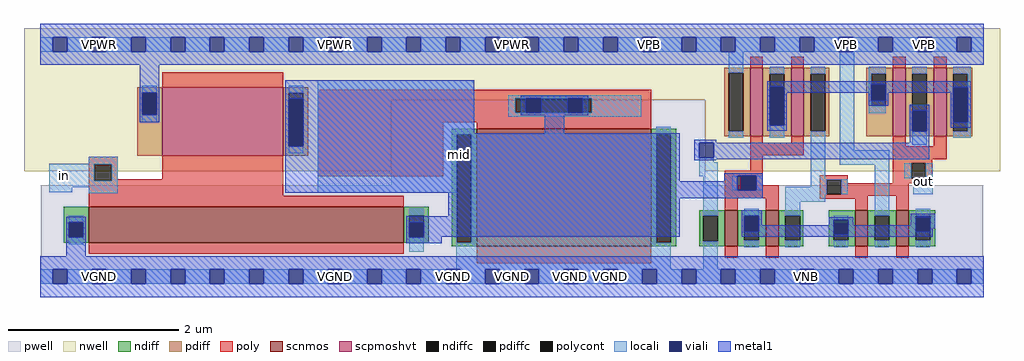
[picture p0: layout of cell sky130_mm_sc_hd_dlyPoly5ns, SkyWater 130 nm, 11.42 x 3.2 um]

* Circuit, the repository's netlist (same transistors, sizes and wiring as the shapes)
* NGSPICE file created from sky130_mm_sc_hd_dlyPoly5ns.ext - technology: sky130A

.subckt sky130_mm_sc_hd_dlyPoly5ns VPWR in out VGND VPB VNB
X0 a_1691_329# out VGND VPB sky130_fd_pr__pfet_01v8_hvt ad=7.52e+11p pd=6.68e+06u as=2.64e+11p ps=2.26e+06u w=800000u l=150000u
X1 a_1691_329# mid VPWR VPB sky130_fd_pr__pfet_01v8_hvt ad=0p pd=0u as=4.72e+11p ps=4.38e+06u w=800000u l=150000u
X2 out mid a_1691_329# VPB sky130_fd_pr__pfet_01v8_hvt ad=2.4e+11p pd=2.2e+06u as=0p ps=0u w=800000u l=150000u
X3 VGND out a_1691_329# VPB sky130_fd_pr__pfet_01v8_hvt ad=0p pd=0u as=0p ps=0u w=800000u l=150000u
X4 VGND mid VGND VNB sky130_fd_pr__nfet_01v8 ad=1.0453e+12p pd=9.52e+06u as=0p ps=0u w=1.375e+06u l=2.045e+06u
X5 a_1632_71# mid VGND VNB sky130_fd_pr__nfet_01v8 ad=3.99e+11p pd=4.42e+06u as=0p ps=0u w=420000u l=150000u
X6 VPWR out a_1632_71# VNB sky130_fd_pr__nfet_01v8 ad=1.386e+11p pd=1.5e+06u as=0p ps=0u w=420000u l=150000u
X7 a_1632_71# out VPWR VNB sky130_fd_pr__nfet_01v8 ad=0p pd=0u as=0p ps=0u w=420000u l=150000u
X8 out mid a_1632_71# VNB sky130_fd_pr__nfet_01v8 ad=1.218e+11p pd=1.42e+06u as=0p ps=0u w=420000u l=150000u
X9 mid in VPWR VPB sky130_fd_pr__pfet_01v8_hvt ad=2.32e+11p pd=2.18e+06u as=0p ps=0u w=800000u l=1.42e+06u
X10 mid in VGND VNB sky130_fd_pr__nfet_01v8 ad=1.218e+11p pd=1.42e+06u as=0p ps=0u w=420000u l=3.69e+06u
.ends

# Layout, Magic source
magic
tech sky130A
magscale 1 2
<< nwell >>
rect -38 414 2246 582
rect -38 247 822 414
rect 1556 247 2246 414
<< pwell >>
rect 822 214 1556 414
rect 1 -17 2207 214
<< scnmos >>
rect 113 80 851 164
rect 1021 71 1430 346
rect 1602 71 1632 155
rect 1698 71 1728 155
rect 1907 71 1937 155
rect 2003 71 2033 155
<< scpmoshvt >>
rect 285 283 569 443
rect 1661 329 1691 489
rect 1757 329 1787 489
rect 1995 329 2025 489
rect 2091 329 2121 489
<< ndiff >>
rect 963 334 1021 346
rect 55 127 113 164
rect 55 92 67 127
rect 101 92 113 127
rect 55 80 113 92
rect 851 144 909 164
rect 851 92 863 144
rect 897 92 909 144
rect 851 80 909 92
rect 963 79 975 334
rect 1009 79 1021 334
rect 963 71 1021 79
rect 1430 334 1488 346
rect 1430 79 1442 334
rect 1476 79 1488 334
rect 1430 71 1488 79
rect 1542 143 1602 155
rect 1542 83 1552 143
rect 1586 83 1602 143
rect 1542 71 1602 83
rect 1632 143 1698 155
rect 1632 85 1648 143
rect 1682 85 1698 143
rect 1632 71 1698 85
rect 1728 143 1786 155
rect 1728 85 1744 143
rect 1778 85 1786 143
rect 1728 71 1786 85
rect 1845 124 1907 155
rect 1845 85 1857 124
rect 1891 85 1907 124
rect 1845 71 1907 85
rect 1937 143 2003 155
rect 1937 85 1953 143
rect 1987 85 2003 143
rect 1937 71 2003 85
rect 2033 143 2095 155
rect 2033 85 2049 143
rect 2083 85 2095 143
rect 2033 71 2095 85
<< pdiff >>
rect 1601 477 1661 489
rect 227 431 285 443
rect 227 379 239 431
rect 273 379 285 431
rect 227 283 285 379
rect 569 431 627 443
rect 569 305 581 431
rect 615 305 627 431
rect 569 283 627 305
rect 1601 341 1611 477
rect 1645 341 1661 477
rect 1601 329 1661 341
rect 1691 475 1757 489
rect 1691 354 1707 475
rect 1741 354 1757 475
rect 1691 329 1757 354
rect 1787 475 1847 489
rect 1787 341 1803 475
rect 1837 341 1847 475
rect 1787 329 1847 341
rect 1933 475 1995 489
rect 1933 400 1945 475
rect 1979 400 1995 475
rect 1933 329 1995 400
rect 2025 475 2091 489
rect 2025 341 2041 475
rect 2075 341 2091 475
rect 2025 329 2091 341
rect 2121 475 2181 489
rect 2121 341 2137 475
rect 2171 341 2181 475
rect 2121 329 2181 341
<< ndiffc >>
rect 67 92 101 127
rect 863 92 897 144
rect 975 79 1009 334
rect 1442 79 1476 334
rect 1552 83 1586 143
rect 1648 85 1682 143
rect 1744 85 1778 143
rect 1857 85 1891 124
rect 1953 85 1987 143
rect 2049 85 2083 143
<< pdiffc >>
rect 239 379 273 431
rect 581 305 615 431
rect 1611 341 1645 477
rect 1707 354 1741 475
rect 1803 341 1837 475
rect 1945 400 1979 475
rect 2041 341 2075 475
rect 2137 341 2171 475
<< poly >>
rect 1661 489 1691 515
rect 1757 489 1787 515
rect 1995 489 2025 515
rect 2091 489 2121 515
rect 285 443 569 479
rect 650 428 1430 438
rect 649 418 1430 428
rect 649 384 1112 418
rect 1291 384 1430 418
rect 649 361 1430 384
rect 113 263 181 281
rect 113 225 126 263
rect 167 228 181 263
rect 285 228 569 283
rect 649 235 943 361
rect 1021 346 1430 361
rect 167 225 569 228
rect 113 190 569 225
rect 113 164 851 190
rect 113 54 851 80
rect 1661 314 1691 329
rect 1757 314 1787 329
rect 1661 284 1787 314
rect 1995 305 2025 329
rect 2091 305 2121 329
rect 1661 248 1691 284
rect 1602 236 1691 248
rect 1995 275 2121 305
rect 1995 265 2088 275
rect 1602 202 1641 236
rect 1675 214 1691 236
rect 1824 227 1890 238
rect 1675 202 1728 214
rect 1602 184 1728 202
rect 1602 155 1632 184
rect 1698 155 1728 184
rect 1824 193 1840 227
rect 1874 219 1890 227
rect 1995 231 2038 265
rect 2072 231 2088 265
rect 1995 219 2088 231
rect 1874 193 2033 219
rect 1824 189 2033 193
rect 1824 182 1937 189
rect 1907 155 1937 182
rect 2003 155 2033 189
rect 1021 32 1430 71
rect 1602 44 1632 71
rect 1698 44 1728 71
rect 1907 44 1937 71
rect 2003 44 2033 71
<< polycont >>
rect 1112 384 1291 418
rect 126 225 167 263
rect 1641 202 1675 236
rect 1840 193 1874 227
rect 2038 231 2072 265
<< locali >>
rect 0 527 29 561
rect 63 527 121 561
rect 155 527 213 561
rect 247 527 305 561
rect 339 527 397 561
rect 431 527 489 561
rect 523 527 581 561
rect 615 527 673 561
rect 707 527 765 561
rect 799 527 857 561
rect 891 527 949 561
rect 983 527 1041 561
rect 1075 527 1133 561
rect 1167 527 1225 561
rect 1259 527 1317 561
rect 1351 527 1409 561
rect 1443 527 1501 561
rect 1535 527 1593 561
rect 1627 527 1685 561
rect 1719 527 1777 561
rect 1811 527 1869 561
rect 1903 527 1961 561
rect 1995 527 2053 561
rect 2087 527 2145 561
rect 2179 527 2208 561
rect 1611 477 1645 527
rect 239 431 273 447
rect 238 379 239 400
rect 238 361 273 379
rect 581 431 615 447
rect 581 289 615 305
rect 650 336 1016 460
rect 1095 418 1407 425
rect 1095 384 1112 418
rect 1291 384 1407 418
rect 1095 374 1407 384
rect 1442 336 1476 351
rect 650 334 1476 336
rect 113 264 181 281
rect 21 263 181 264
rect 21 225 126 263
rect 167 225 181 263
rect 21 209 181 225
rect 21 198 75 209
rect 113 195 181 209
rect 650 196 975 334
rect 863 144 897 160
rect 67 127 101 143
rect 67 76 101 92
rect 863 58 897 92
rect 973 79 975 196
rect 1009 79 1442 334
rect 1611 325 1645 341
rect 1707 475 1741 491
rect 1707 325 1741 354
rect 1803 475 1837 491
rect 1542 268 1576 279
rect 1542 235 1586 268
rect 973 17 1476 79
rect 1552 143 1586 235
rect 1620 202 1631 236
rect 1675 202 1691 236
rect 1803 228 1837 341
rect 1871 296 1905 527
rect 1939 475 1979 491
rect 1939 400 1945 475
rect 1939 383 1979 400
rect 2041 475 2075 491
rect 2041 309 2075 341
rect 2137 475 2177 491
rect 2171 341 2177 475
rect 2137 325 2177 341
rect 1871 262 1987 296
rect 1803 227 1890 228
rect 1803 210 1840 227
rect 1744 193 1840 210
rect 1874 193 1890 227
rect 1744 176 1837 193
rect 1552 17 1586 83
rect 1648 143 1682 159
rect 1648 69 1682 85
rect 1744 143 1778 176
rect 1953 143 1987 262
rect 2022 231 2038 265
rect 2072 231 2089 265
rect 2043 193 2089 231
rect 1744 69 1778 85
rect 1857 133 1891 143
rect 1857 69 1891 85
rect 1953 69 1987 85
rect 2049 143 2083 159
rect 2049 69 2083 85
rect 0 -17 29 17
rect 63 -17 121 17
rect 155 -17 213 17
rect 247 -17 305 17
rect 339 -17 397 17
rect 431 -17 489 17
rect 523 -17 581 17
rect 615 -17 673 17
rect 707 -17 765 17
rect 799 -17 857 17
rect 891 -17 949 17
rect 983 -17 1041 17
rect 1075 -17 1133 17
rect 1167 -17 1225 17
rect 1259 -17 1317 17
rect 1351 -17 1409 17
rect 1443 -17 1501 17
rect 1535 -17 1593 17
rect 1627 -17 1685 17
rect 1719 -17 1777 17
rect 1811 -17 1869 17
rect 1903 -17 1961 17
rect 1995 -17 2053 17
rect 2087 -17 2145 17
rect 2179 -17 2208 17
<< viali >>
rect 29 527 63 561
rect 121 527 155 561
rect 213 527 247 561
rect 305 527 339 561
rect 397 527 431 561
rect 489 527 523 561
rect 581 527 615 561
rect 673 527 707 561
rect 765 527 799 561
rect 857 527 891 561
rect 949 527 983 561
rect 1041 527 1075 561
rect 1133 527 1167 561
rect 1225 527 1259 561
rect 1317 527 1351 561
rect 1409 527 1443 561
rect 1501 527 1535 561
rect 1593 527 1627 561
rect 1685 527 1719 561
rect 1777 527 1811 561
rect 1869 527 1903 561
rect 1961 527 1995 561
rect 2053 527 2087 561
rect 2145 527 2179 561
rect 239 379 273 431
rect 581 305 615 417
rect 1136 384 1172 418
rect 1234 384 1270 418
rect 67 92 101 127
rect 863 92 897 128
rect 1707 354 1741 445
rect 1542 279 1576 313
rect 1631 202 1641 236
rect 1641 202 1675 236
rect 1945 412 1979 451
rect 2041 341 2075 389
rect 2137 361 2171 443
rect 1648 105 1682 143
rect 1857 124 1891 133
rect 1857 99 1891 124
rect 2049 105 2083 139
rect 29 -17 63 17
rect 121 -17 155 17
rect 213 -17 247 17
rect 305 -17 339 17
rect 397 -17 431 17
rect 489 -17 523 17
rect 581 -17 615 17
rect 673 -17 707 17
rect 765 -17 799 17
rect 857 -17 891 17
rect 949 -17 983 17
rect 1041 -17 1075 17
rect 1133 -17 1167 17
rect 1225 -17 1259 17
rect 1317 -17 1351 17
rect 1409 -17 1443 17
rect 1501 -17 1535 17
rect 1593 -17 1627 17
rect 1685 -17 1719 17
rect 1777 -17 1811 17
rect 1869 -17 1903 17
rect 1961 -17 1995 17
rect 2053 -17 2087 17
rect 2145 -17 2179 17
<< metal1 >>
rect 0 561 2208 592
rect 0 527 29 561
rect 63 527 121 561
rect 155 527 213 561
rect 247 527 305 561
rect 339 527 397 561
rect 431 527 489 561
rect 523 527 581 561
rect 615 527 673 561
rect 707 527 765 561
rect 799 527 857 561
rect 891 527 949 561
rect 983 527 1041 561
rect 1075 527 1133 561
rect 1167 527 1225 561
rect 1259 527 1317 561
rect 1351 527 1409 561
rect 1443 527 1501 561
rect 1535 527 1593 561
rect 1627 527 1685 561
rect 1719 527 1777 561
rect 1811 527 1869 561
rect 1903 527 1961 561
rect 1995 527 2053 561
rect 2087 527 2145 561
rect 2179 527 2208 561
rect 0 496 2208 527
rect 233 431 279 496
rect 233 379 239 431
rect 273 379 279 431
rect 233 362 279 379
rect 573 417 1016 460
rect 1701 451 2177 458
rect 1701 445 1945 451
rect 238 361 273 362
rect 573 305 581 417
rect 615 336 1016 417
rect 1124 418 1282 424
rect 1124 384 1136 418
rect 1172 384 1234 418
rect 1270 384 1282 418
rect 1124 378 1282 384
rect 1181 336 1226 378
rect 1701 354 1707 445
rect 1741 430 1945 445
rect 1741 354 1747 430
rect 1939 412 1945 430
rect 1979 443 2177 451
rect 1979 430 2137 443
rect 1979 412 1985 430
rect 1939 400 1985 412
rect 1701 342 1747 354
rect 2035 389 2081 402
rect 2035 341 2041 389
rect 2075 341 2081 389
rect 2131 361 2137 430
rect 2171 361 2177 443
rect 2131 349 2177 361
rect 615 305 1496 336
rect 573 223 1496 305
rect 1530 314 1582 320
rect 2035 314 2081 341
rect 1530 313 2081 314
rect 1530 279 1542 313
rect 1576 279 2081 313
rect 1530 275 2081 279
rect 1530 273 1582 275
rect 1601 236 1691 242
rect 1601 223 1631 236
rect 573 202 1631 223
rect 1675 202 1691 236
rect 573 196 1691 202
rect 955 184 1691 196
rect 955 142 1496 184
rect 61 127 107 140
rect 61 92 67 127
rect 101 92 107 127
rect 61 48 107 92
rect 856 128 1496 142
rect 856 92 863 128
rect 897 93 1496 128
rect 1642 143 1688 155
rect 1642 105 1648 143
rect 1682 121 1688 143
rect 2037 139 2095 147
rect 1845 133 1903 139
rect 1845 121 1857 133
rect 1682 105 1857 121
rect 1642 99 1857 105
rect 1891 121 1903 133
rect 2037 121 2049 139
rect 1891 105 2049 121
rect 2083 113 2095 139
rect 2083 105 2089 113
rect 1891 99 2089 105
rect 1642 93 2089 99
rect 897 92 940 93
rect 856 78 940 92
rect 0 17 2208 48
rect 0 -17 29 17
rect 63 -17 121 17
rect 155 -17 213 17
rect 247 -17 305 17
rect 339 -17 397 17
rect 431 -17 489 17
rect 523 -17 581 17
rect 615 -17 673 17
rect 707 -17 765 17
rect 799 -17 857 17
rect 891 -17 949 17
rect 983 -17 1041 17
rect 1075 -17 1133 17
rect 1167 -17 1225 17
rect 1259 -17 1317 17
rect 1351 -17 1409 17
rect 1443 -17 1501 17
rect 1535 -17 1593 17
rect 1627 -17 1685 17
rect 1719 -17 1777 17
rect 1811 -17 1869 17
rect 1903 -17 1961 17
rect 1995 -17 2053 17
rect 2087 -17 2145 17
rect 2179 -17 2208 17
rect 0 -48 2208 -17
<< labels >>
flabel metal1 s 0 496 2208 592 0 FreeSans 160 0 0 0 VPWR
port 1 nsew power bidirectional abutment
flabel metal1 s 0 -48 2208 48 0 FreeSans 160 0 0 0 VGND
port 4 nsew ground bidirectional abutment
flabel metal1 s 673 527 707 561 0 FreeSans 160 0 0 0 VPWR
port 1 nsew power bidirectional abutment
flabel metal1 s 673 -17 707 17 0 FreeSans 160 0 0 0 VGND
port 4 nsew ground bidirectional abutment
flabel nwell s 673 527 707 561 0 FreeSans 160 0 0 0 VPB
port 5 nsew power bidirectional
flabel pwell s 673 -17 707 17 0 FreeSans 160 0 0 0 VNB
port 6 nsew ground bidirectional
flabel metal1 s 121 -17 155 17 0 FreeSans 160 0 0 0 VGND
port 4 nsew ground bidirectional abutment
flabel metal1 s 121 527 155 561 0 FreeSans 160 0 0 0 VPWR
port 1 nsew power bidirectional abutment
flabel nwell s 121 527 155 561 0 FreeSans 160 0 0 0 VPB
port 5 nsew power bidirectional
flabel pwell s 121 -17 155 17 0 FreeSans 160 0 0 0 VNB
port 6 nsew ground bidirectional
flabel metal1 s 1225 -17 1259 17 0 FreeSans 160 0 0 0 VGND
port 4 nsew ground bidirectional abutment
flabel pwell s 1225 -17 1259 17 0 FreeSans 160 0 0 0 VNB
port 6 nsew ground bidirectional
flabel locali s 40 221 74 255 7 FreeSans 160 0 0 0 in
port 2 nsew signal input
rlabel metal1 982 285 982 285 1 mid
flabel pwell s 1777 -17 1811 17 0 FreeSans 160 0 0 0 VNB
port 6 nsew ground bidirectional
flabel metal1 s 1777 -17 1811 17 0 FreeSans 160 0 0 0 VGND
port 4 nsew ground bidirectional abutment
flabel nwell s 1409 527 1443 561 0 FreeSans 160 0 0 0 VPB
port 5 nsew power bidirectional
flabel metal1 s 1409 527 1443 561 0 FreeSans 160 0 0 0 VPWR
port 1 nsew power bidirectional abutment
flabel nwell s 1869 527 1903 561 0 FreeSans 160 0 0 0 VPB
port 5 nsew power bidirectional
flabel metal1 s 1869 527 1903 561 0 FreeSans 160 0 0 0 VPWR
port 1 nsew power bidirectional abutment
flabel nwell s 2053 527 2087 561 0 FreeSans 160 0 0 0 VPB
port 5 nsew power bidirectional
flabel metal1 s 2053 527 2087 561 0 FreeSans 160 0 0 0 VPWR
port 1 nsew power bidirectional abutment
flabel locali s 2049 207 2083 241 0 FreeSans 160 0 0 0 out
port 3 nsew signal output
flabel metal1 s 1317 -17 1351 17 0 FreeSans 160 0 0 0 VGND
port 4 nsew ground bidirectional abutment
flabel pwell s 1317 -17 1351 17 0 FreeSans 160 0 0 0 VNB
port 6 nsew ground bidirectional
flabel metal1 s 949 -17 983 17 0 FreeSans 160 0 0 0 VGND
port 4 nsew ground bidirectional abutment
flabel pwell s 949 -17 983 17 0 FreeSans 160 0 0 0 VNB
port 6 nsew ground bidirectional
<< properties >>
string FIXED_BBOX 0 0 2208 544
string LEFclass CORE
string LEForigin 0 0
string LEFsite unithd
string LEFsource USER
<< end >>
